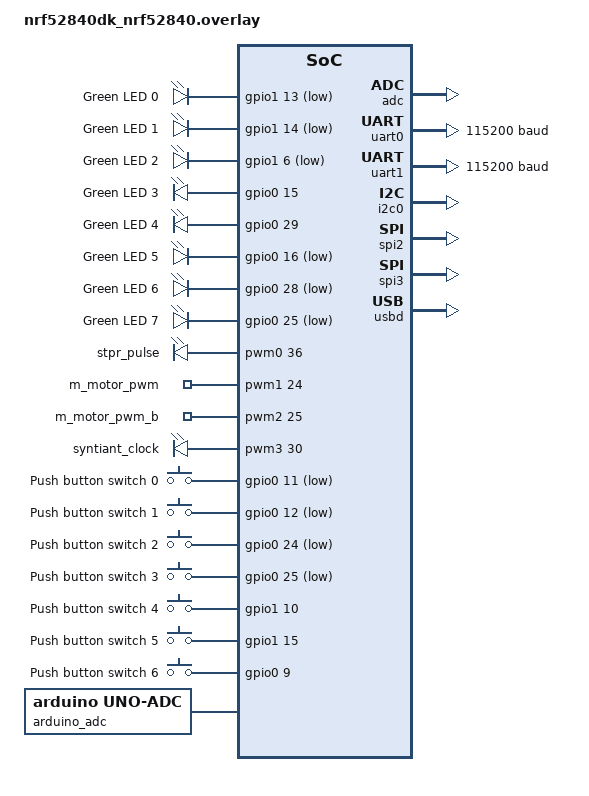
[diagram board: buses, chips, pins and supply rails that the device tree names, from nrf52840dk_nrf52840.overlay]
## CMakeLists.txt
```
# SPDX-License-Identifier: Apache-2.0

cmake_minimum_required(VERSION 3.20.0)
find_package(Zephyr REQUIRED HINTS $ENV{ZEPHYR_BASE})
project(blinky)

target_sources(app PRIVATE src/main.c)

# NORDIC SDK APP END
zephyr_library_include_directories(. Includes/ Includes/CH101/)

FILE(GLOB app_sources src/*.c src/CH101/*.c src/ESP32_WiFi_lib/*.c src/ESP32_WiFi_lib/utility/*.c src/IMU/*.c  src/IMU/util/*.c)
target_sources(app PRIVATE ${app_sources})
```

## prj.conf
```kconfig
#
# Copyright (c) 2018 Nordic Semiconductor
#
# SPDX-License-Identifier: LicenseRef-BSD-5-Clause-Nordic
#
CONFIG_NCS_SAMPLES_DEFAULTS=y

CONFIG_LOG=y
CONFIG_STDOUT_CONSOLE=y
CONFIG_PRINTK=y

CONFIG_BT=y
CONFIG_BT_PERIPHERAL=y
CONFIG_BT_DEVICE_NAME="Doorbot"
CONFIG_BT_SMP=y
CONFIG_BT_DEBUG_LOG=n
CONFIG_BT_LOG_LEVEL_INF=n

# BT Connection and Tx/Rx configs
CONFIG_BT_L2CAP_TX_MTU=247
#CONFIG_BT_L2CAP_RX_MTU=247
CONFIG_BT_BUF_ACL_RX_SIZE=247
#CONFIG_BT_RX_BUF_LEN=255
CONFIG_BT_CTLR_TX_PWR_PLUS_8=n

CONFIG_DK_LIBRARY=y

#Enable the BMS service
CONFIG_BT_BMS=y

#Enable Bonding
CONFIG_BT_SETTINGS=y
CONFIG_FLASH=y
CONFIG_FLASH_PAGE_LAYOUT=y
CONFIG_FLASH_MAP=y
CONFIG_NVS=y
CONFIG_SETTINGS=y
CONFIG_BT_HCI_ACL_FLOW_CONTROL=y
CONFIG_BT_FIXED_PASSKEY=y
CONFIG_BT_MAX_PAIRED=8
CONFIG_BT_FIXED_PASSKEY=y

#Enable the BAS service
#CONFIG_BT_BAS=n

#Enable the DIS service
#CONFIG_BT_DIS=n

# Enable PWM
CONFIG_PWM=y
CONFIG_PWM_LOG_LEVEL_DBG=n
CONFIG_MAIN_STACK_SIZE=16384
CONFIG_SYSTEM_WORKQUEUE_STACK_SIZE=16384

# Enable ADC
CONFIG_ADC=y
CONFIG_ADC_ASYNC=y

#Enable I2C and SPI
CONFIG_I2C=y
CONFIG_SPI=y
#CONFIG_NEWLIB_LIBC=y
#CONFIG_NEWLIB_LIBC_FLOAT_PRINTF=y
#CONFIG_NEWLIB_LIBC_NANO=n
#CONFIG_PTHREAD_IPC=y

#Enable the UART Driver
CONFIG_UART_ASYNC_API=y
CONFIG_NRFX_UARTE1=y
CONFIG_NRFX_UARTE0=y
CONFIG_SERIAL=y
CONFIG_GPIO=y

# Make sure printk is not printing to the UART console
CONFIG_CONSOLE=y
CONFIG_UART_CONSOLE=y

CONFIG_HEAP_MEM_POOL_SIZE=8192

#CONFIG_NFCT_PINS_AS_GPIOS=y

# added for testing zephyr thread abort crash issue
CONFIG_SPEED_OPTIMIZATIONS=y


CONFIG_BT=y
#CONFIG_BT_DEBUG_LOG=y
#CONFIG_BT_LOG_SNIFFER_INFO=y
CONFIG_BT_SMP=y
CONFIG_BT_PERIPHERAL=y
CONFIG_BT_DIS=y
CONFIG_BT_DIS_PNP=n
CONFIG_BT_DEVICE_APPEARANCE=833
CONFIG_BT_MAX_CONN=4
```

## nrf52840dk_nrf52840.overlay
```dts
/ {
    leds {
		compatible = "gpio-leds";
		hz_stpr_en: led_0 {
			gpios = <&gpio1 13 GPIO_ACTIVE_LOW>;
			label = "Green LED 0";
		};
		stpr_dir:   led_1 {
			gpios = <&gpio1 14 GPIO_ACTIVE_LOW>;
			label = "Green LED 1";
		};
		vr_stpr_en: led_2 {
			gpios = <&gpio1 6 GPIO_ACTIVE_LOW>;
			label = "Green LED 2";
		};
		uart_gpio:  led_3 {
			gpios = <&gpio0 15 GPIO_ACTIVE_HIGH>;
			label = "Green LED 3";
		};
		m_motor_en: led_4 {
			gpios = <&gpio0 29 GPIO_ACTIVE_HIGH>;
			label = "Green LED 4";
		};
		motor_driver_relay: led_5 {
			gpios = <&gpio0 16 GPIO_ACTIVE_LOW>;
			label = "Green LED 5";
		};
		display_on: led_6 {
			gpios = <&gpio0 28 GPIO_ACTIVE_LOW>;
			label = "Green LED 6";
		};
		gearmotor_dir: led_7 {
			gpios = <&gpio0 25 GPIO_ACTIVE_LOW>;
			label = "Green LED 7";
		};
		// uwb_gpio: led_8 {
		// 	gpios = <&gpio1 9 GPIO_ACTIVE_LOW>;
		// 	label = "Green LED 8";
		// };
    };

	pwmleds {
		compatible = "pwm-leds";
		stpr_pulse: pwm_led_0 {
			pwms = <&pwm0 36 PWM_MSEC(20) PWM_POLARITY_INVERTED>;
		};
		m_motor_pwm: pwm_led_1 {
			pwms = <&pwm1 24 PWM_MSEC(20) PWM_POLARITY_INVERTED>;
		};
		m_motor_pwm_b: pwm_led_2 {
			pwms = <&pwm2 25 PWM_MSEC(20) PWM_POLARITY_INVERTED>;
		};
		syntiant_clock: pwm_led_3 {
			pwms = <&pwm3 30 PWM_MSEC(20) PWM_POLARITY_INVERTED>;
		};
	};

	buttons {
		compatible = "gpio-keys";
		button0: button_0 {
			gpios = <&gpio0 11 (GPIO_PULL_UP | GPIO_ACTIVE_LOW)>;
			label = "Push button switch 0";
		};
		button1: button_1 {
			gpios = <&gpio0 12 (GPIO_PULL_UP | GPIO_ACTIVE_LOW)>;
			label = "Push button switch 1";
		};
		button2: button_2 {
			gpios = <&gpio0 24 (GPIO_PULL_UP | GPIO_ACTIVE_LOW)>;
			label = "Push button switch 2";
		};
		button3: button_3 {
			gpios = <&gpio0 25 (GPIO_PULL_UP | GPIO_ACTIVE_LOW)>;
			label = "Push button switch 3";
		};
		pir_sensor_1: button_4 {
			gpios = <&gpio1 10 (GPIO_PULL_DOWN)>;
			label = "Push button switch 4";
		};
		synt_interpt: button_5 {
			gpios = <&gpio1 15 (GPIO_PULL_DOWN)>;
			label = "Push button switch 5";
		};
		stm_interpt: button_6 {
			gpios = <&gpio0 9 (GPIO_PULL_DOWN)>;
			label = "Push button switch 6";
		};
	};
	arduino_adc: analog-connector {
		compatible = "arduino,uno-adc";
		#io-channel-cells = <1>;
		io-channel-map = <0 &adc 1>,	/* A0 = P0.3 = AIN1 */
				 <1 &adc 2>,	/* A1 = P0.4 = AIN2 */
				 <2 &adc 4>,	/* A2 = P0.28 = AIN4 */
				 <3 &adc 5>,	/* A3 = P0.29 = AIN5 */
				 <4 &adc 6>,	/* A4 = P0.30 = AIN6 */
				 <5 &adc 7>;	/* A5 = P0.31 = AIN7 */
	};
	/* These aliases are provided for compatibility with samples */
	aliases {
		spi-0 = &spi0;
		spi-2 = &spi2;
		spi-3 = &spi3;
		i2c-0 = &i2c0;
		i2c-1 = &i2c1;
		adcctrl = &adc;
		hz-stpr-en = &hz_stpr_en;
		vr-stpr-en = &vr_stpr_en;
		stpr-dir = &stpr_dir;
		gearmotor-dir = &gearmotor_dir;
		uart-gpio = &uart_gpio;
		//uwb-gpio = &uwb_gpio;
		m-motor-en = &m_motor_en;
		motor-driver-relay = &motor_driver_relay;
		stpr-pulse = &stpr_pulse;
		m-motor-pwm = &m_motor_pwm;
		m-motor-pwm-b = &m_motor_pwm_b;
		syntiant-clock = &syntiant_clock;
		display-on = &display_on;
		sw0 = &button0;
		sw1 = &button1;
		sw2 = &button2;
		sw3 = &button3;
		pir-sensor-1 = &pir_sensor_1;
		synt-interpt = &synt_interpt;
		stm-interpt = &stm_interpt;
	};
};

&adc {
	status = "okay";
};

&gpiote {
	status = "okay";
};

&gpio0 {
	status = "okay";
};

&gpio1 {
	status = "okay";
};

&uart0 {
	compatible = "nordic,nrf-uarte";
	status = "okay";
	current-speed = <115200>;
	pinctrl-0 = <&uart0_default>;
	pinctrl-1 = <&uart0_sleep>;
	pinctrl-names = "default", "sleep";
};

arduino_serial: &uart1 {
	current-speed = <115200>;
	pinctrl-0 = <&uart1_default>;
	pinctrl-1 = <&uart1_sleep>;
	pinctrl-names = "default", "sleep";
};

arduino_i2c: &i2c0 {
	compatible = "nordic,nrf-twi";
	status = "okay";
	pinctrl-0 = <&i2c0_default>;
	pinctrl-1 = <&i2c0_sleep>;
	pinctrl-names = "default", "sleep";
};

&i2c1 {
	compatible = "nordic,nrf-twi";
	/* Cannot be used together with spi1. */
	/* status = "okay"; */
	pinctrl-0 = <&i2c1_default>;
	pinctrl-1 = <&i2c1_sleep>;
	pinctrl-names = "default", "sleep";
};

// &pwm0 {
// 	status = "okay";
// 	pinctrl-0 = <&pwm0_default>;
// 	pinctrl-1 = <&pwm0_sleep>;
// 	pinctrl-names = "default", "sleep";
// };

// &pwm1 {
// 	status = "okay";
// 	pinctrl-0 = <&pwm1_default>;
// 	pinctrl-1 = <&pwm1_sleep>;
// 	pinctrl-names = "default", "sleep";
// };

// &pwm2 {
// 	status = "okay";
// 	pinctrl-0 = <&pwm2_default>;
// 	pinctrl-1 = <&pwm2_sleep>;
// 	pinctrl-names = "default", "sleep";
// };

// &pwm3 {
// 	status = "okay";
// 	pinctrl-0 = <&pwm3_default>;
// 	pinctrl-1 = <&pwm3_sleep>;
// 	pinctrl-names = "default", "sleep";
// };


&spi0 {
	compatible = "nordic,nrf-spi";
	/* Cannot be used together with i2c0. */
	/* status = "okay"; */
	pinctrl-0 = <&spi0_default>;
	pinctrl-1 = <&spi0_sleep>;
	pinctrl-names = "default", "sleep";
};

&spi1 {
	compatible = "nordic,nrf-spi";
	/*status = "okay";*/
	pinctrl-0 = <&spi1_default>;
	pinctrl-1 = <&spi1_sleep>;
	pinctrl-names = "default", "sleep";
};

&spi2 {
	compatible = "nordic,nrf-spi";
	status = "okay";
	pinctrl-0 = <&spi2_default>;
	pinctrl-1 = <&spi2_sleep>;
	pinctrl-names = "default", "sleep";
};

// &qspi {
// 	status = "okay";
// 	pinctrl-0 = <&qspi_default>;
// 	pinctrl-1 = <&qspi_sleep>;
// 	pinctrl-names = "default", "sleep";
// 	mx25r64: mx25r6435f@0 {
// 		compatible = "nordic,qspi-nor";
// 		reg = <0>;
// 		/* MX25R64 supports only pp and pp4io */
// 		writeoc = "pp4io";
// 		/* MX25R64 supports all readoc options */
// 		readoc = "read4io";
// 		sck-frequency = <8000000>;
// 		jedec-id = [c2 28 17];
// 		sfdp-bfp = [
// 			e5 20 f1 ff  ff ff ff 03  44 eb 08 6b  08 3b 04 bb
// 			ee ff ff ff  ff ff 00 ff  ff ff 00 ff  0c 20 0f 52
// 			10 d8 00 ff  23 72 f5 00  82 ed 04 cc  44 83 68 44
// 			30 b0 30 b0  f7 c4 d5 5c  00 be 29 ff  f0 d0 ff ff
// 		];
// 		size = <67108864>;
// 		has-dpd;
// 		t-enter-dpd = <10000>;
// 		t-exit-dpd = <35000>;
// 	};
// };

arduino_spi: &spi3 {
	status = "okay";
	//cs-gpios = <&arduino_header 16 GPIO_ACTIVE_LOW>; /* D10 */
	pinctrl-0 = <&spi3_default>;
	pinctrl-1 = <&spi3_sleep>;
	pinctrl-names = "default", "sleep";
};

// &flash0 {

// 	partitions {
// 		compatible = "fixed-partitions";
// 		#address-cells = <1>;
// 		#size-cells = <1>;

// 		boot_partition: partition@0 {
// 			label = "mcuboot";
// 			reg = <0x00000000 0x0000C000>;
// 		};
// 		slot0_partition: partition@c000 {
// 			label = "image-0";
// 			reg = <0x0000C000 0x00076000>;
// 		};
// 		slot1_partition: partition@82000 {
// 			label = "image-1";
// 			reg = <0x00082000 0x00076000>;
// 		};

// 		/*
// 		 * The flash starting at 0x000f8000 and ending at
// 		 * 0x000fffff is reserved for use by the application.
// 		 */

// 		/*
// 		 * Storage partition will be used by FCB/LittleFS/NVS
// 		 * if enabled.
// 		 */
// 		storage_partition: partition@f8000 {
// 			label = "storage";
// 			reg = <0x000f8000 0x00008000>;
// 		};
// 	};
// };

&flash0 {

	partitions {
		compatible = "fixed-partitions";
		#address-cells = <1>;
		#size-cells = <1>;

		boot_partition: partition@0 {
			label = "mcuboot";
			reg = <0x00000000 0x0000C000>;
		};
		slot0_partition: partition@c000 {
			label = "image-0";
			reg = <0x0000C000 0x00067000>;
		};
		slot1_partition: partition@73000 {
			label = "image-1";
			reg = <0x00073000 0x00067000>;
		};
		scratch_partition: partition@da000 {
			label = "image-scratch";
			reg = <0x000da000 0x0001e000>;
		};

		/*
		 * The flash starting at 0x000f8000 and ending at
		 * 0x000fffff is reserved for use by the application.
		 */

		/*
		 * Storage partition will be used by FCB/LittleFS/NVS
		 * if enabled.
		 */
		storage_partition: partition@f8000 {
			label = "storage";
			reg = <0x000f8000 0x00008000>;
		};
	};
};

zephyr_udc0: &usbd {
	compatible = "nordic,nrf-usbd";
	status = "okay";
};
```

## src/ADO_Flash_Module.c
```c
#include <stdio.h>
#include <zephyr/device.h>
#include <string.h>
#include <nrfx_spi.h>
#include <zephyr/devicetree.h>
#include <hal/nrf_spi.h>
#include <zephyr/drivers/spi.h>
#include <zephyr/drivers/gpio.h>
#include <zephyr/drivers/flash.h>
#include <hal/nrf_common.h>
#include <zephyr/kernel.h>

#include "Includes/W25N01GV.h"
#include "Includes/ADO_Flash_Module.h"


flash_device_t flash_dev;
struct device *spi_flash;


struct spi_config spi_flash_cfg = {
    .operation = SPI_WORD_SET(8) | SPI_TRANSFER_MSB,
    .frequency = 8000000,
};


void spi2_init(void)
{
  const char *const spiName = "SPI_2";
  spi_flash = device_get_binding(spiName);

  if (spi_flash == NULL) 
  {
    printk("Could not get %s device\n", spiName);
    return;
  }
  printk("device found\n");
}


/**
 * @brief SPI user event handler.
 * @param event
 */
//void spi_event_handler(nrfx_spi_evt_t const * p_event,void *  p_context)
//{
//    spi_xfer_done = true;
//}


static uint32_t nrf_spi_transfer_own(uint8_t* p_tx_buffer,uint8_t tx_buffer_length, uint8_t* p_rx_buffer,uint8_t rx_buffer_length)
{
  struct spi_buf tx_buf1 = {
          .buf = p_tx_buffer,
          .len = tx_buffer_length};
  struct spi_buf_set tx1 = {
          .buffers = &tx_buf1,
          .count = 1};
		 
                 
   struct spi_buf rx_buf = {
          .buf = p_rx_buffer,
          .len = rx_buffer_length};
   struct spi_buf_set rx1 = {
          .buffers = &rx_buf,
          .count = 1};

  return spi_transceive(spi_flash, &spi_flash_cfg, &tx1, &rx1); 
}


void external_flash_init()
{
    int8_t err_status = FLASH_SUCCESS;

    nrf_gpio_cfg_output(EXT_FLASH_SPI_CS);
    nrf_gpio_pin_set(EXT_FLASH_SPI_CS);

    nrf_gpio_cfg_output(EXT_FLASH_SPI_HLD);
    nrf_gpio_pin_set(EXT_FLASH_SPI_HLD);

    nrf_gpio_cfg_output(EXT_FLASH_SPI_WP);
    nrf_gpio_pin_clear(EXT_FLASH_SPI_WP);

    flash_dev.spi_txfer = nrf_spi_transfer_own;
    flash_dev.sleep = k_msleep(10);
    flash_dev.flash_size = 0x8000000;
    flash_dev.num_of_pages_per_block = 0x40;
    flash_dev.num_of_blocks = 0x400;
    flash_dev.page_size = 0x800;
    flash_dev.num_ecc_bytes_per_page = 0x40;
    
    /*initialization of external flash device*/
    err_status = w25n01gv_init(&flash_dev);
    if (err_status != FLASH_SUCCESS)
    {
      printk(" winbond flash init failed\n");
    }
    printk("winbond flash started\n");
    nrf_gpio_pin_set(EXT_FLASH_SPI_WP);
      
    //printk("winbond erase starts\n");
    /*erasing the 128kB of memory*/
    //err_status = w25n01gc_flash_erase(&flash_dev, FLASH_TEST_REGION_OFFSET, MAX_FLASH_ERASE_LEN);
    //if (err_status != FLASH_SUCCESS)
    //{
    //  printk("winbond erase fail\n");
    //}
    //printk("flash erase successful\n");
}


int8_t external_flash_block_erase(uint32_t start_add, uint32_t no_of_blocks)
{
  int8_t err_status = FLASH_SUCCESS;

  nrf_gpio_pin_clear(EXT_FLASH_SPI_WP);
  /*erasing memory before storing audio file*/
  err_status = w25n01gc_flash_erase(&flash_dev, start_add, MAX_FLASH_ERASE_LEN);
  nrf_gpio_pin_set(EXT_FLASH_SPI_WP);

  if (err_status != FLASH_SUCCESS)
  {
    printk("winbond erase fail\n");
    return -1;
  }
  return 0; 
}


int8_t external_flash_file_write(uint32_t start_add, uint8_t* write_buf, uint32_t write_len)
{
  int8_t err_status = FLASH_SUCCESS;
  
  /*erasing memory before storing audio file*/
  //err_status = w25n01gc_flash_erase(&flash_dev, start_add, AUDIO_FILE_FLASH_LENGTH);
  //if (err_status != FLASH_SUCCESS)
  //{
  //  printk("winbond erase fail\n");
  //}

  /*flash write*/
  nrf_gpio_pin_clear(EXT_FLASH_SPI_WP);
  err_status = w25n01gc_flash_write(&flash_dev, (start_add+1), write_buf, write_len);
  nrf_gpio_pin_set(EXT_FLASH_SPI_WP);
  if (err_status != FLASH_SUCCESS)
  {
    printk("winbond write fail\n");
    return -1;
  }
  return 0; 
}


int8_t external_flash_file_read(uint32_t start_add, uint8_t* read_buf, uint32_t read_len)
{
  int8_t err_status = FLASH_SUCCESS;

  nrf_gpio_pin_clear(EXT_FLASH_SPI_WP);
  err_status = w25n01gc_flash_read(&flash_dev, (start_add+1), read_buf, read_len);
  nrf_gpio_pin_set(EXT_FLASH_SPI_WP);
  if (err_status != FLASH_SUCCESS)
  {
    printk("winbond read fail\n");
    return -1;
  }
  return 0;
}
```

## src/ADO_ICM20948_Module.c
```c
#include <zephyr/device.h>
#include <zephyr/devicetree.h>
#include <zephyr/drivers/gpio.h>
#include <math.h>
#include <stdio.h>
#include <zephyr/kernel.h>

#include "IMU/ICM_20948.h" // Click here to get the library: http://librarymanager/All#SparkFun_ICM_20948_IMU
#include "Includes/ADO_ICM20948_Module.h"
#include "Includes/I2C_Module.h"
//#define SERIAL_PORT Serial

//#define SPI_PORT SPI // Your desired SPI port.       Used only when "USE_SPI" is defined
//#define CS_PIN 2     // Which pin you connect CS to. Used only when "USE_SPI" is defined

//#define WIRE_PORT Wire // Your desired Wire port.      Used when "USE_SPI" is not defined
#define AD0_VAL 1 // The value of the last bit of the I2C address.                \
                       // On the SparkFun 9DoF IMU breakout the default is 1, and when \
                       // the ADR jumper is closed the value becomes 0

// ICM_20948_I2C myICM; // Otherwise create an ICM_20948_I2C object

#define PI 3.14159265359

int init_ICM20948_setup() {
#ifndef QUAT_ANIMATION
  printk("ICM-20948 Example\n");
#endif

  k_msleep(100);
  bool initialized = false;
  while (!initialized) {
    // Initialize the ICM-20948
    // If the DMP is enabled, .begin performs a minimal startup.
    // We need to configure the sample mode etc. manually.
#ifdef USE_SPI
    myICM.begin(CS_PIN, SPI_PORT);
#else
    ICM_20948_I2C_begin();
#endif

#ifndef QUAT_ANIMATION
    printk("Initialization of the sensor returned: ");
    printk(ICM_20948_statusString());
#endif
    if (status != ICM_20948_Stat_Ok) {
#ifndef QUAT_ANIMATION
      printk("\nTrying again...\n");
#endif
      k_msleep(500);
    } else {
      initialized = true;
    }
  }

#ifndef QUAT_ANIMATION
  printk("Device connected!\n");
#endif

  bool success = true; // Use success to show if the DMP configuration was successful
  // Initialize the DMP. initializeDMP is a weak function.
  // You can overwrite it if you want to e.g. to change the sample rate
  success &= (ICM_20948_initializeDMP() == ICM_20948_Stat_Ok);

  // Enable the DMP Game Rotation Vector sensor
  success &= (ICM_20948_enableDMPSensor(INV_ICM20948_SENSOR_GAME_ROTATION_VECTOR, true) == ICM_20948_Stat_Ok);

  // Configuring DMP to output data at multiple ODRs:
  // E.g. For a 5Hz ODR rate when DMP is running at 55Hz, value = (55/5) - 1 = 10.
  success &= (ICM_20948_setDMPODRrate(DMP_ODR_Reg_Quat6, 4) == ICM_20948_Stat_Ok); // Set to the maximum

  // Enable the FIFO
  success &= (ICM_20948_enableFIFO(true) == ICM_20948_Stat_Ok);

  // Enable the DMP
  success &= (ICM_20948_enableDMP(true) == ICM_20948_Stat_Ok);

  // Reset DMP
  success &= (ICM_20948_resetDMP() == ICM_20948_Stat_Ok);

  // Reset FIFO
  success &= (ICM_20948_resetFIFO() == ICM_20948_Stat_Ok);

  // Check success
  if (success) {
#ifndef QUAT_ANIMATION
    printk("DMP enabled!\n\n\n");
    return 1;
#endif
  } else {
    printk("Enable DMP failed!\n");
    printk("Please check that you have uncommented line 29 (#define ICM_20948_USE_DMP) in ICM_20948_C.h...\n");
    return 0;
  }
}

double yaw = 0;
double yaw_icm = 0;
double prev_icm_reading = 180;
float tempYaw_icm = 180.0f, prevYaw_icm = 180.0f;
icm_20948_DMP_data_t data;

double check_for_data(void) {
  int count = 0;
  // printf("[");
  while (1) {
    ICM_20948_readDMPdataFromFIFO(&data);
    count++;
    if (status != 10) { // Was valid data available?
      if (status == 0) {
        if ((data.header & DMP_header_bitmap_Quat6) > 0) { // We have asked for GRV data so we should receive Quat6
          double q1 = ((double)data.Quat6.Data.Q1) / 1073741824.0; // Convert to double. Divide by 2^30
          double q2 = ((double)data.Quat6.Data.Q2) / 1073741824.0; // Convert to double. Divide by 2^30
          double q3 = ((double)data.Quat6.Data.Q3) / 1073741824.0; // Convert to double. Divide by 2^30

          double q0 = sqrt(1.0 - ((q1 * q1) + (q2 * q2) + (q3 * q3)));
          double q2sqr = q2 * q2;

          double t3 = +2.0 * (q0 * q3 + q1 * q2);
          double t4 = +1.0 - 2.0 * (q2sqr + q3 * q3);
          yaw = atan2(t3, t4) * 180.0 / PI;

          // printf("\nDevice status-->Raw_Yaw=%0.2lf\n",yaw);
          yaw += 180;
        }
      }
    } else {
      // printk("\n Device status -> fifo count =%d\n",count);
      // count=0;
      // printf(", ");

      if (((prevYaw_icm - yaw) > .1) || ((prevYaw_icm - yaw) < -.1)) {
        // printf(" Device_status -> Raw_Yaw +180 = %0.2lf\n", yaw);
        if (tempYaw_icm < (prevYaw_icm - yaw)) {
          tempYaw_icm = (prevYaw_icm - yaw) - tempYaw_icm;
          prevYaw_icm = yaw;
          return (tempYaw_icm);
        } else {
          tempYaw_icm += -(prevYaw_icm - yaw);
          prevYaw_icm = yaw;
          return (tempYaw_icm);
        }
        // tempYaw_icm += -(prevYaw_icm - yaw);
        // prevYaw_icm = yaw;
        // return (tempYaw_icm);
      } else {
        // printf("Device_status -> Raw_IMU_Yaw = %0.2lf,\n", yaw);
        prevYaw_icm = yaw;
        return (tempYaw_icm);
      }
    }
  }
}

double Read_ICM20948_YAW_Data(void) {
  double yaw_value;
  yaw_value = check_for_data();

  // icm_20948_DMP_data_t data;
  // ICM_20948_readDMPdataFromFIFO(&data);

  // if ((status == ICM_20948_Stat_Ok) || (status == ICM_20948_Stat_FIFOMoreDataAvail)) // Was valid data available?
  //{

  //  if ((data.header & DMP_header_bitmap_Quat6) > 0) // We have asked for GRV data so we should receive Quat6
  //  {
  //   float q1 = ((float)data.Quat6.Data.Q1) / 1073741824.0; // Convert to double. Divide by 2^30
  //   float q2 = ((float)data.Quat6.Data.Q2) / 1073741824.0; // Convert to double. Divide by 2^30
  //   float q3 = ((float)data.Quat6.Data.Q3) / 1073741824.0; // Convert to double. Divide by 2^30

  //   double q0 = sqrt(1.0 - ((q1 * q1) + (q2 * q2) + (q3 * q3)));
  //   double q2sqr = q2 * q2;

  //   // roll (x-axis rotation)
  //   double t0 = +2.0 * (q0 * q1 + q2 * q3);
  //   double t1 = +1.0 - 2.0 * (q1 * q1 + q2sqr);
  //   double roll = atan2(t0, t1) * 180.0 / PI;

  //   // pitch (y-axis rotation)
  //   double t2 = +2.0 * (q0 * q2 - q3 * q1);
  //   t2 = t2 > 1.0 ? 1.0 : t2;
  //   t2 = t2 < -1.0 ? -1.0 : t2;
  //   double pitch = asin(t2) * 180.0 / PI;

  //   // yaw (z-axis rotation)
  //   double t3 = +2.0 * (q0 * q3 + q1 * q2);
  //   double t4 = +1.0 - 2.0 * (q2sqr + q3 * q3);
  //   yaw = atan2(t3, t4) * 180.0 / PI;
  //   yaw += 180;
  //  }
  //}
  return yaw_value;
}
```

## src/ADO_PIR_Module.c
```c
#include <zephyr/device.h>
#include <zephyr/drivers/gpio.h>
#include <zephyr/sys/util.h>
#include <zephyr/sys/printk.h>
#include <inttypes.h>
#include <zephyr/kernel.h>

#include "Includes/ADO_PIR_Module.h"
#include "Includes/Intent_Module.h"
#include "Includes/Command_Manager_Module.h"

static struct gpio_callback pir_1_cb_data;

const struct device *pir_1;
bool valid_PIR = Not_Detected_PIR;


/*
 * brief: It is a callback function triggered on an PIR sensor GPIO interrupt,
 *        when there is a person detected.
 */
void pir_1_detected(const struct device *dev, struct gpio_callback *cb, uint32_t pins)
{
  // Debug print
  printk("PIR Detected.....\n");
  valid_PIR = Detected_PIR;
}

/*
 * brief: Assign a GPIO Pin to PIR sensor as an Input Pin and register its interrupt.
 */
int8_t init_PIR_sensor()
{
  int ret;

  pir_1 = device_get_binding(PIR1_GPIO_LABEL);
  if (pir_1 == NULL) 
  {
    printk("Error: didn't find %s device\n", PIR1_GPIO_LABEL);
    return errorcode1;
  }

  ret = gpio_pin_configure(pir_1, PIR1_GPIO_PIN, PIR1_GPIO_FLAGS);
  if (ret != 0) 
  {
    printk("Error %d: failed to configure %s pin %d\n", ret, PIR1_GPIO_LABEL, PIR1_GPIO_PIN);
    return errorcode2;
  }

  ret = gpio_pin_interrupt_configure(pir_1, PIR1_GPIO_PIN, GPIO_INT_EDGE_RISING);
  if (ret != 0) 
  {
    printk("Error %d: failed to configure interrupt on %s pin %d\n", ret, PIR1_GPIO_LABEL, PIR1_GPIO_PIN);
    return errorcode3;
  }

  gpio_init_callback(&pir_1_cb_data, pir_1_detected, BIT(PIR1_GPIO_PIN));
       
  // BSP: Removed adding the callback to make the PIR, 'Disabled' by default.
  gpio_add_callback(pir_1, &pir_1_cb_data);
  printk("Set up button at %s pin %d\n", PIR1_GPIO_LABEL, PIR1_GPIO_PIN);
  
  return 0;
}

/*
 * brief: Enables PIR Sensor interrupt callback function
 */
void enable_pir_1()
{
  printk("PIR Enabled\r\n");
  gpio_add_callback(pir_1, &pir_1_cb_data);
  
  // Just set a global flag to notify intent is detected, and main thread will check and notify cmd_mgr
  valid_PIR = Not_Detected_PIR;        // this will be checked and served in main thread
}

/*
 * brief: Disables PIR Sensor interrupt callback function
 */
void disable_pir_1()
{
  printk("PIR Disabled\r\n");
  gpio_remove_callback(pir_1, &pir_1_cb_data);
}
```

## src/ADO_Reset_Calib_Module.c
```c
#include <math.h>
#include <zephyr/kernel.h>
#include <stdio.h>

#include "Includes/Motor_Control_Module.h"
#include "Includes/ADO_Reset_Calib_Module.h"
#include "Includes/Command_Manager_Module.h"
#include "Includes/Intent_Module.h"
#include "Includes/Device_Status_Module.h"
#include "Includes/Calibration_Module.h"
#include "Includes/ADO_PIR_Module.h"
#include "Includes/ADO_Operations_Module.h"

uint8_t reset_option();
uint8_t reset_variable = 255;

// Mailbox variables
struct k_mbox_msg rst_calib_msg;
ado_reset_calib_cmd_t res_calib_cmd = 0;  // important to initialize

/*
 *  brief: Definition to the reset calibration thread
 */
void ADO_Reset_Calib_Thread(void) {
  //// Mailbox variables
  // struct k_mbox_msg recv_msg;
  // ado_reset_calib_cmd_t res_calib_cmd = 0;  // important to initialize
  int quit=0;

  power_optimization(CALIBRATION);
  const char * thread_state = NULL;
  float new_close_IMU_val = -1.0f;          // initialise it to invalid IMU value first
  
  // Check and abort intent thread if it is enabled
  if(is_Intent_Enabled() == true) { 
    // Check if the intent thread was already running, and suspend it
    thread_state = k_thread_state_str(ado_intent_thrd_id,0,0);
    
    if(!is_thread_dead(thread_state)) {
      k_thread_abort(ado_intent_thrd_id);
    }

    // Disable PIR
    disable_pir_1(); 
  }  

  while(1) {
    // prepare the mailbox receive buffer
    rst_calib_msg.info = 0;
    rst_calib_msg.size = sizeof(uint8_t);
    rst_calib_msg.rx_source_thread = cmd_mgr_thrd_id; 

    if(res_calib_cmd == 0) {
      // retrieve and delete the message if received
      k_mbox_get(&cmd_mgr_mb, &rst_calib_msg, &res_calib_cmd, K_FOREVER);
    }

    switch (res_calib_cmd) {
      case RESET_START:
        printk("RESET_START\n\r");
        resetCalibStart();
        enum_lock_status=EM_LOCK_DISABLE;
        Lock_sendCmdACK(&enum_lock_status,1);
        Speed(25, 25, Gear_motor_params.gearbox_ratio, Gear_motor_params.micro_steps,
            Gear_motor_params.step_angle, 25, 25); 
        Gear_motor_params.speed_change_percentage = 10;
        Gear_motor_params.skip_steps = 250;
        Gear_motor_params.Bward_speed_change_percentage = 10;
        Gear_motor_params.bw_skip_steps = 250;
     
        res_calib_cmd = 0;
        reset_variable = 0;
        break;

      case RESET_AUTO:
        printk("RESET_AUTO\n\r");// when click NO option RESET_AUTO call again with out RESET_START for that re initlization profile values for accel again
        Speed(25, 25, Gear_motor_params.gearbox_ratio, Gear_motor_params.micro_steps,
            Gear_motor_params.step_angle, 25, 25); 
        Gear_motor_params.Bward_speed_change_percentage = 10;
        Gear_motor_params.bw_skip_steps = 250;

        if(reset_variable==0) {
          reset_variable = 1;
        }        
        res_calib_cmd = resetCalibAuto(&new_close_IMU_val);
        break;
      
      case RESET_FORWARD:
        printk("RESET_FORWARD\n\r");
        Speed(25, 25, Gear_motor_params.gearbox_ratio, Gear_motor_params.micro_steps,
            Gear_motor_params.step_angle, 25, 25); 
        Gear_motor_params.speed_change_percentage = 10;
        Gear_motor_params.skip_steps = 250;
        Gear_motor_params.Bward_speed_change_percentage = 10;
        Gear_motor_params.bw_skip_steps = 250;
        res_calib_cmd = resetCalib_RunADO(RESET_FORWARD, DRIVE_MOTOR_DIR_FORWARD, &new_close_IMU_val);
        break;

      case RESET_BACKWARD:
        printk("RESET_BACKWARD\n\r");
        Speed(25, 25, Gear_motor_params.gearbox_ratio, Gear_motor_params.micro_steps,
            Gear_motor_params.step_angle, 25, 25); 
        Gear_motor_params.speed_change_percentage = 10;
        Gear_motor_params.skip_steps = 250;
        Gear_motor_params.Bward_speed_change_percentage = 10;
        Gear_motor_params.bw_skip_steps = 250;
        res_calib_cmd = resetCalib_RunADO(RESET_BACKWARD, DRIVE_MOTOR_DIR_BACKWARD, &new_close_IMU_val);
        break;

      case RESET_STOP:
        printk("RESET_STOP\n\r");
        res_calib_cmd = resetCalibStop(RESET_STOP);
        reset_variable = 255;
        break;

      case RESET_DONE:
        printk("RESET_DONE\n\r");
        if(reset_variable==1) {
          reset_variable = 2;
        }
        resetCalibDone( new_close_IMU_val);
        Speed(Gear_motor_params.start_RPM, Gear_motor_params.end_RPM, Gear_motor_params.gearbox_ratio,
            Gear_motor_params.micro_steps, Gear_motor_params.step_angle, Gear_motor_params.bw_start_RPM,
            Gear_motor_params.bw_end_RPM);     
        res_calib_cmd = 0;
        quit =1;
        break;
              
      default:
        res_calib_cmd = 0;
        break;
    }
    if(quit) {
    quit =0;
      break;
    }
  }
  enable_pir_1(); 
  power_optimization(CALIBRATION_STOP);
}

/*
 *  brief: Function to start reset calibration
 */
void resetCalibStart(void) {
  // Notify  over BLE that the reset calibration has started
  ADO_notify_ble(cmd_mgr_thrd_id, ADO_RESET_RESPONSE, RESET_START, RESET_STARTED, NULL, 0);
}

/*
 *  brief: Function to automatically move ADO in close direction, stop based on stagnation and respond to ED that door is closed
 */
int8_t resetCalibAuto(float * pnew_close_IMU) {
  int8_t ret;
  // Check if ADO is calibrated, to avoid reading any wrong value from EEPROM
  if(is_ADO_Calibrated(&calib) == false) {
    //Debug print
    printk("ADO not calibrated\r\n");
    return -1;
  }

  // Read the previously calibrated params as read from EEPROM
  // Assign the opposite of close_to_open direction to open_to_close direction 
  bool open_to_close_dir = (calib.close_to_open_motor_direction == DRIVE_MOTOR_DIR_FORWARD) ? DRIVE_MOTOR_DIR_BACKWARD : DRIVE_MOTOR_DIR_FORWARD;
  
  // debug msg
  //printk("open_to_close_dir: %d, close_to_open:  %d\r\n", open_to_close_dir, calib.close_to_open_motor_direction);
  
  // Move the ADO in the open_to_close direction
  ret = resetCalib_RunADO(RESET_AUTO, open_to_close_dir, pnew_close_IMU);
  if(ret != 0) {
    return ret;
  }
  
  // Reached here means ADO stopped due to stagnation, can be treated as 'door is closed'
  ADO_notify_ble(cmd_mgr_thrd_id, ADO_RESET_RESPONSE, RESET_AUTO, RESET_CLOSED, NULL, 0);
  return ret;
}


/*
 *  brief: Function to move ADO in provided direction, stop based on stagnation and respond to ED that door is stopped
 */
uint8_t resetCalib_RunADO(uint8_t cmd, bool direction, float * new_close_IMU) {
  // Mailbox variables
  struct k_mbox_msg recv_msg;

  // prepare the mailbox receive buffer
  recv_msg.info = 0;
  recv_msg.size = sizeof(uint8_t);
  recv_msg.rx_source_thread = cmd_mgr_thrd_id;

  uint8_t recvd_cmd = 0;
  uint8_t cmd_response = 0;
    
  float prev_IMU_val = 0.0;
  float curr_IMU_val = G_IMU;
  float delta = 0.0;
  uint8_t stag_cycle_cnt = 0;

  int8_t ret = -1;

  //Get the Drive Motor State
  if (isMotorRunning(&Gear_motor_params)) {
    //STOP the motor if it is in running condition for protection from damage
    //rotateMotor(&Gear_motor_params, 0U, DRIVE_MOTOR_DIR_FORWARD, DRIVE_MOTOR_OFF, Disable_TruePWM);

    gpio_pin_set(Gear_motor_params.enable, Gear_motor_params.settings.en_pin, 1);
    Gear_motor_params.isRunning = false;
  }

  // Move ADO in given 'direction'
  ret = rotateMotor_autoreset(&Gear_motor_params, DEF_CAL_MOTOR_SPEED_PERCENT, direction, DRIVE_MOTOR_ON,Disable_TruePWM);
  
  // get the received command and it's response to report over BLE
  cmd_response = (direction == DRIVE_MOTOR_DIR_FORWARD)? RESET_MOVING_FORWARD : RESET_MOVING_BACKWARD;

  // Notify  over BLE that the ADO is moving in 'direction'
  ADO_notify_ble(cmd_mgr_thrd_id, ADO_RESET_RESPONSE, cmd, cmd_response, NULL, 0);

  // set the new calibrated close position for further use.
  if(new_close_IMU != NULL) {
    *new_close_IMU = curr_IMU_val;
  }

  // Check if the loop is broken due to any new command
  if(ret > 0) {
    return ret;
  }
  printf("\n===========> before reset calib while");
  // Logic to stop the ADO based on stagnation
  
  while((stag_cycle_cnt < ADO_MAX_STAGNANT_CYCLE_CNT) && (recvd_cmd == 0)) {
    // check the difference between new and previous IMU values
    delta = fabs(curr_IMU_val - prev_IMU_val);
    printf("\ncurr_IMU_val = %f prev_IMU_val = %f  delta = %f\n",curr_IMU_val,prev_IMU_val,delta);

    if(delta <= ADO_STAGNANT_THRESHOLD_DEG) {
      ++stag_cycle_cnt;
     // printf(" \nstag_cycle_cnt %d\n",stag_cycle_cnt);
    } else {
      if(stag_cycle_cnt >=1) {
      //  printf("\n stag_cycle_cnt reset\n");
      stag_cycle_cnt = 0; // reset the counter
      }
    }    // Debug print
    //printk("stag_cycle_cnt = %d\r\n", stag_cycle_cnt);
    // read for any new message receieved over mailbox
    k_mbox_get(&cmd_mgr_mb, &recv_msg, &recvd_cmd, ADO_MAX_STAGNANT_CYCLE_PERIOD_MS);
    prev_IMU_val = curr_IMU_val;
    curr_IMU_val = G_IMU;
  }
  //printf("\n after while stag_cycle_cnt %d\n",stag_cycle_cnt);
  // set the new calibrated close position for further use.
  if(new_close_IMU != NULL) {
    *new_close_IMU = curr_IMU_val;
    printf("\n ==> imu val\n %f    %f",*new_close_IMU,curr_IMU_val);
  }

  // Check if the loop is broken due to any new command
  if(recvd_cmd != 0) {
    return recvd_cmd;
  }
  printf("\n===========> after reset calib while exit");
  // Reached here as ADO was stagnant at one point, stop the ADO
  ret  = resetCalibStop(cmd);
  return ret;
}

/*
 *  brief: Function to stop ADO if it was moving in any direction and respond to ED that door is stopped
 */
int resetCalibStop(uint8_t cmd) {
  int ret = 0;

  // Notify  over BLE that the reset calibration has stopped
  ADO_notify_ble(cmd_mgr_thrd_id, ADO_RESET_RESPONSE, cmd, RESET_STOPPED, NULL, 0);
 
   //Get the DC Motor State
  if (isMotorRunning(&Gear_motor_params)) {
    // printk("\n==>stagination called");
    ret = motor_lock_o(&Gear_motor_params);
    //STOP the motor if it is in running condition.
    // rotateMotor(&Gear_motor_params, 0U,  DRIVE_MOTOR_DIR_FORWARD,DRIVE_MOTOR_OFF,Disable_TruePWM);
    gpio_pin_set(Gear_motor_params.enable, Gear_motor_params.settings.en_pin, 1);
    Gear_motor_params.isRunning = false;
    //TODO: Handle any errors
  } 
  return ret;
}

/*
 *  brief: Function to complete the reset calibration procedure, it updates the new open and close positions into global calib structure
 */
int8_t resetCalibDone(float newIMUCloseVal) {
  int8_t ret = -1;
   
  // Save the new close position and update the open position based on previous close to open angle
  ret = updateCalib(newIMUCloseVal);
  if(ret == 0) {
    //Debug print
    printk("Calibration values updated!\r\n");

    // Notify  over BLE that the reset calibration has completed
    ADO_notify_ble(cmd_mgr_thrd_id, ADO_RESET_RESPONSE, RESET_DONE, RESET_COMPLETE, NULL, 0);

    // Update the ado state that it is not restarted now
    ADO_set_restart_state(ADO_NOT_RESTARTED);
  }
  return ret;
}

/*
 *  brief: Function to update the new open and close positions into global calib structure based on previous calibration values
 */
int8_t updateCalib( float newIMUCloseVal) {
    int8_t ret = -1;
    doorPositionFromClose = 0;

    // Check the new IMU value is having any valid IMU value or not
    if(newIMUCloseVal < 0) {
      printf("Invalid new IMU Close value %f\r\n", newIMUCloseVal);
      return ret;
    }
        
    // set the new open position w.r.t new close position and previously calibrated close and open values
    if(calib.pos_open > calib.pos_close) {
      calib.pos_open = newIMUCloseVal + calib.close_to_open_angle;
    } else if(calib.pos_open < calib.pos_close) {
      calib.pos_open = newIMUCloseVal - calib.close_to_open_angle;
    }
        
    // set the new close position
    calib.pos_close = newIMUCloseVal;

    // debug print
    printf("new close: %f, new open: %f\r\n", calib.pos_close, calib.pos_open);
    return 0;
}

uint8_t reset_option() {
  //uint8_t temp = reset_variable;
  //reset_variable = 255;
  //return temp;
  return reset_variable;
}

float fw_accrelation_interval_resetcalib(void) {
  //printk("Forward acceleration interval is called\r\n");
  if ((Gear_motor_params.steps % Gear_motor_params.skip_steps) == 0) {
    if (Gear_motor_params.current_speed_percentage < 100) {
      Gear_motor_params.current_speed_percentage += Gear_motor_params.speed_change_percentage;
      Gear_motor_params.current_interval = Gear_motor_params.start_interval - ((Gear_motor_params.start_interval - Gear_motor_params.end_interval) * Gear_motor_params.current_speed_percentage / 100);
    } else {
      printk("**************************\n");
      printk("%d", Gear_motor_params.current_interval);
    }

    if (Gear_motor_params.steps >= Gear_motor_params.skip_steps * 20) {
      Gear_motor_params.steps = 0;
    }
  }
  Gear_motor_params.steps += 1;
  //printk(", steps = %d",Gear_motor_params.steps);
  return Gear_motor_params.current_interval;
}


float bw_accrelation_interval_resetcalib(void) {
  if ((Gear_motor_params.bw_steps % Gear_motor_params.bw_skip_steps) == 0) {
    if (Gear_motor_params.bw_current_speed_percentage < 100) {
      Gear_motor_params.bw_current_speed_percentage += Gear_motor_params.bw_speed_change_percentage;
      Gear_motor_params.bw_current_interval = Gear_motor_params.bw_start_interval - ((Gear_motor_params.bw_start_interval - Gear_motor_params.bw_end_interval) * Gear_motor_params.bw_current_speed_percentage / 100);
    } else {
      printk("**************************\n");
      printk("%d", Gear_motor_params.bw_current_interval);
    }

    if (Gear_motor_params.bw_steps >= Gear_motor_params.bw_skip_steps * 20) {
      Gear_motor_params.bw_steps = 0;
    }
  }
  Gear_motor_params.bw_steps += 1;
  return Gear_motor_params.bw_current_interval;
}


/*
 * brief: Rotate or Stop the motor as per the provided parameters, the motor_param must be valid
 */
int8_t rotateMotor_autoreset(struct motor_params_t *motor_params, uint8_t pwm_percent,
    bool dir, bool enable, bool true_pwm) {
  //int32_t ret = 0, u_sec = 0, cnt = 0; // temp
  res_calib_cmd=0;
  printk("\n rotate rotateMotor_autoreset is called\n");
  int32_t u_sec = 0, cnt = 0; // temp

  int ret =0;
  // Limit PWM percent to 100%
  if (pwm_percent > MAX_OPR_MOTOR_SPEED_PERCENT) {
    pwm_percent = MAX_OPR_MOTOR_SPEED_PERCENT;
  }

  // Limit PWM percent to not fall beyond MIN_OPR_MOTOR_SPEED_PERCENT in operating conditions
  if (!true_pwm) {
    if (pwm_percent < MIN_OPR_MOTOR_SPEED_PERCENT) {
      pwm_percent = MIN_OPR_MOTOR_SPEED_PERCENT;
    }
  }

  // Set the motor state
  // since the DC door motor enable pin is set to active low,
  // we are tasking opposite state to depict motor running
  //motor_params->isRunning = !enable;

  // Toggle the PWM duty cycle percent to ON timings i.e. 70% Pwm eq to 30% ON time
  pwm_percent = 100U - pwm_percent;

  if (motor_params->type == CLAMP_MOTOR) {
    motor_params->isRunning = enable;
    enable = !enable;
    dir = !dir;

    // Set the Motor Enable GPIO
    gpio_pin_set(motor_params->enable, motor_params->settings.en_pin, enable);

    // Set the Motor direction GPIO
    gpio_pin_set(motor_params->direction, motor_params->settings.dir_pin, dir);
  } else {
    // Set the Motor Enable GPIO
    motor_params->isRunning = !enable;
    if(motor_params->isRunning) {
      gpio_pin_set(motor_params->enable, motor_params->settings.en_pin, 0);
    } else {
      gpio_pin_set(motor_params->enable, motor_params->settings.en_pin, 1);
    }
    
    if (enable == false) {
      // Set the PWM Period
      // TODO: Add the functionality of turning off PWM if motor is disabled
      if (dir) {
        ret = gpio_pin_set(motor_params->direction, motor_params->settings.dir_pin, GPIO_ACTIVE_HIGH);
        if (ret != 0) {
          printk("Error %d: failed to set  direction\n", ret);
        }

        while (Gear_motor_params.current_speed_percentage < 100  ) { //11825 cnt <= 13325 
          u_sec = fw_accrelation_interval_resetcalib();
          // printf("\nforward speed = %d direction = %d msec = %f enable = %d\n",pwm_percent,dir,u_sec,enable);
          ret = pwm_pin_set_usec(motor_params->pwm, motor_params->settings.pwm_channel, u_sec, u_sec / 2U, motor_params->settings.pwm_flags);
          
          if (ret != 0) {
            printk("Error %d: failed to set pulse width\n", ret);
          }

          k_mbox_get(&cmd_mgr_mb, &rst_calib_msg, &res_calib_cmd, K_USEC(u_sec));

          if((res_calib_cmd==RESET_STOP)  || (res_calib_cmd==RESET_FORWARD) || (res_calib_cmd==RESET_BACKWARD)) {
            printk("\nSTOP or forward or backward Command is detected in rotate motor\n");
            printk("res_calib_cmd = %d",res_calib_cmd);
            return res_calib_cmd;
            //return 4;
          }
        }
      } else {
        ret = gpio_pin_set(motor_params->direction, motor_params->settings.dir_pin, GPIO_ACTIVE_LOW);
        if (ret != 0) {
          printk("Error %d: failed to set  direction\n", ret);
        }

        while (Gear_motor_params.bw_current_speed_percentage < 100 ) { //9000 cnt <= 13325 
          u_sec = bw_accrelation_interval_resetcalib();
          // printk("\nbackward speed = %d direction = %d msec = %d enable = %d\n", pwm_percent, dir, u_sec, enable);
          ret = pwm_pin_set_usec(motor_params->pwm, motor_params->settings.pwm_channel, u_sec, u_sec / 2U,
              motor_params->settings.pwm_flags);
          if (ret != 0) {
            printk("Error %d: failed to set pulse width\n", ret);
          }

          k_mbox_get(&cmd_mgr_mb, &rst_calib_msg, &res_calib_cmd, K_USEC(u_sec));

          if((res_calib_cmd==RESET_STOP) || (res_calib_cmd==RESET_FORWARD) || (res_calib_cmd==RESET_BACKWARD)) {
            printk("\nSTOP or forward or backward Command is detected in rotate motor\n");
            printk("res_calib_cmd = %d",res_calib_cmd);
            return res_calib_cmd;
          }
        }
      }
    }
    printk("\n============>enable = %d isRunning = %d\n", enable,motor_params->isRunning);
  }
  return ret;
}
```

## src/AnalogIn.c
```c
#include "Includes/AnalogIn.h"
#include <zephyr/drivers/adc.h>
#include <string.h>

// Simple analog input method
// this just reads a sample then waits then returns it

// ADC Sampling Settings
// doc says that impedance of 800K == 40usec sample time

static bool _IsInitialized = false;
static uint8_t _LastChannel = 250;
static int16_t m_sample_buffer[BUFFER_SIZE];

// the channel configuration with channel not yet filled in
static struct adc_channel_cfg m_1st_channel_cfg =
    {
        .gain = ADC_GAIN,
        .reference = ADC_REFERENCE,
        .acquisition_time = ADC_ACQUISITION_TIME,
        .channel_id = 4, // gets set during init
        .differential = 0,
#if CONFIG_ADC_CONFIGURABLE_INPUTS
        .input_positive = 0, // gets set during init
#endif
};

// return device* for the adc
static const struct device *getAdcDevice(void) {
  return device_get_binding(ADC_DEVICE_NAME);
}

// initialize the adc channel
static const struct device *init_adc(int channel) {
  int ret;
  const struct device *adc_dev = getAdcDevice();
  if (_LastChannel != channel) {
    _IsInitialized = false;
    _LastChannel = channel;
  }

  if (adc_dev != NULL && !_IsInitialized) {
    // strangely channel_id gets the channel id and input_positive gets id+1
    m_1st_channel_cfg.channel_id = channel;
#if CONFIG_ADC_CONFIGURABLE_INPUTS
    m_1st_channel_cfg.input_positive = channel + 1,
#endif
    ret = adc_channel_setup(adc_dev, &m_1st_channel_cfg);
    if (ret != 0) {
      // LOG_INF("Setting up of the first channel failed with code %d", ret);
      adc_dev = NULL;
    } else {
      _IsInitialized = true; // we don't have any other analog users
    }
  }
  memset(m_sample_buffer, 0, sizeof(m_sample_buffer));
  return adc_dev;
}

// ------------------------------------------------
// read one channel of adc
// ------------------------------------------------
static int16_t readOneChannel(int channel) {
  const struct adc_sequence sequence =
      {
          .options = NULL,           // extra samples and callback
          .channels = BIT(channel),  // bit mask of channels to read
          .buffer = m_sample_buffer, // where to put samples read
          .buffer_size = sizeof(m_sample_buffer),
          .resolution = ADC_RESOLUTION, // desired resolution
          .oversampling = 0,            // don't oversample
          .calibrate = 0                // don't calibrate
      };

  int ret;
  int16_t sample_value = BAD_ANALOG_READ;
  const struct device *adc_dev = init_adc(channel);
  if (adc_dev) {
    ret = adc_read(adc_dev, &sequence);
    if (ret == 0) {
      sample_value = m_sample_buffer[0];
    }
  }
  return sample_value;
}

// ------------------------------------------------
// high level read adc channel and convert to float voltage
// ------------------------------------------------
float AnalogRead(int channel) {
  int16_t serial_voltage = readOneChannel(channel);
  if (serial_voltage == BAD_ANALOG_READ) {
    return serial_voltage;
  }

  int multip = ADC_08_BIT_VALUE;
  // find 2**adc_resolution
  switch (ADC_RESOLUTION) {
  default:
  case 8:
    multip = ADC_08_BIT_VALUE;
    break;
  case 10:
    multip = ADC_10_BIT_VALUE;
    break;
  case 12:
    multip = ADC_12_BIT_VALUE;
    break;
  case 14:
    multip = ADC_14_BIT_VALUE;
    break;
  }

  // the 3.3 relates to the voltage divider.
  float fout = (serial_voltage * ADC_VDD / multip);
  return fout;
}

/*
 * brief: This function takes respected ADC channel number.
 *        returns average analog voltage from sensors by taking no.of samples = 500.
 */
int average_adc(int channel) {
  double raw_voltage = 0;
  for (int i = 0; i < NO_OFF_ADC_SAMPLES; i++) {
    raw_voltage += AnalogRead(channel);
  }
  int avg_voltage = (raw_voltage / NO_OFF_ADC_SAMPLES) * volTomv_converter;
  printk("voltage = %d -----------\n", avg_voltage);
  return avg_voltage;
}

/*
 * brief: This function takes respected ADC channel number.
 *        returns calculated ADO battery voltage in mV.
 */
uint16_t ADO_Battery_Voltage_mV(int channel) {
  double raw_voltage = 0;
  for (int i = 0; i < NO_OFF_ADC_SAMPLES; i++) {
    raw_voltage += AnalogRead(channel);
  }
  int avg_voltage = (raw_voltage / NO_OFF_ADC_SAMPLES) * volTomv_converter;
  uint16_t battery_Voltage_mV = (avg_voltage + analog_correction_Vol) * scalingFactor_BatVoltage;
  // printk("battery voltage (mV) = %d,  ", battery_Voltage_mV);

  if (battery_Voltage_mV <= battery_min_voltage) {
    battery_Voltage_mV = battery_min_voltage + 10;
  }
  return battery_Voltage_mV;
}

/*
 * brief: This function takes respected ADC channel number.
 *        returns present Battery percentage of ADO based on reading analog battery voltage.
 */
uint8_t ADO_Battery_Percen_Read(int channel) {
  int8_t batt_percent;
  batt_percent = (int8_t)((ADO_Battery_Voltage_mV(channel) - battery_min_voltage) / Denominator_value_percent_cal); //  ((present_batt_volt - min_batt_volt)/(max_batt_vol - min_batt-vol))x 100 // battery percentage calculation
  if (batt_percent >= Battery_max_Percentage) {
    batt_percent = Battery_max_Percentage;
  } else if (batt_percent <= Battery_min_Percentage) {
    batt_percent = Battery_min_Percentage;
  }
  // printk("battery percentage (%) = %d\n", batt_percent);
  return batt_percent;
}

/*
 * brief: This function takes respected ADC channel number.
 *        returns calculated current data entire ADO in mA.
 */
uint16_t ADO_Current_mA(int channel) {
  double raw_voltage = 0;
  for (int i = 0; i < NO_OFF_ADC_SAMPLES; i++) {
    raw_voltage += AnalogRead(channel);
  }
  int avg_voltage = (raw_voltage / NO_OFF_ADC_SAMPLES) * volTomv_converter;
  uint16_t current_mA = ((avg_voltage + Current_offset_value) - start_current_representation) * sensitivity_factor;
  // printk("ADO Current (mA) = %d, analog read mV = %d\n", current_mA, avg_voltage);
  printf("%.1f\n", (float)current_mA);
  return current_mA;
}

#ifdef ADO_RAYTAC_P2_1
/*
 * brief: This function takes respected ADC channel number.
 *        returns calculated current data entire ADO in mA.
 */
uint16_t ADO_drive_motor_Current_mA(int channel) {
  double raw_voltage = 0;
  for (int i = 0; i < NO_OFF_ADC_SAMPLES; i++) {
    raw_voltage += AnalogRead(channel);
  }
  int avg_voltage = (raw_voltage / NO_OFF_ADC_SAMPLES) * 1000;
  uint16_t current_mA = ((avg_voltage + 205) - 2500) * 5;
  printk("ADO Current (mA) = %d, analog read mV = %d\n", current_mA, avg_voltage);
  return current_mA;
}
#endif
```
